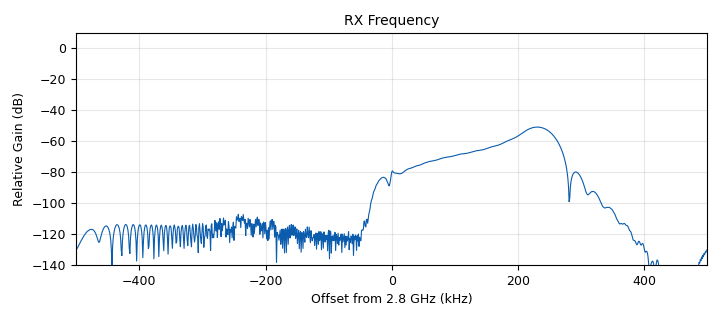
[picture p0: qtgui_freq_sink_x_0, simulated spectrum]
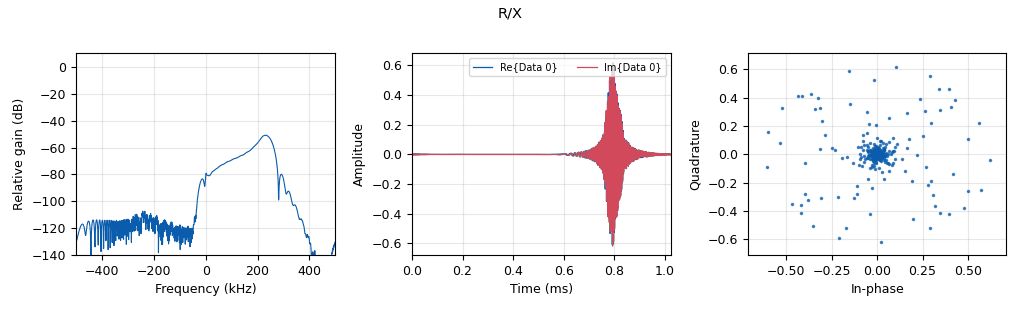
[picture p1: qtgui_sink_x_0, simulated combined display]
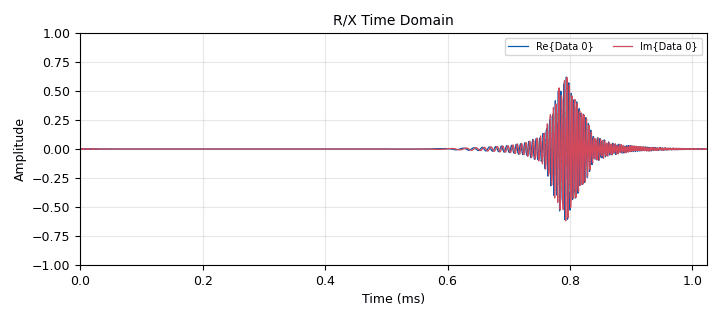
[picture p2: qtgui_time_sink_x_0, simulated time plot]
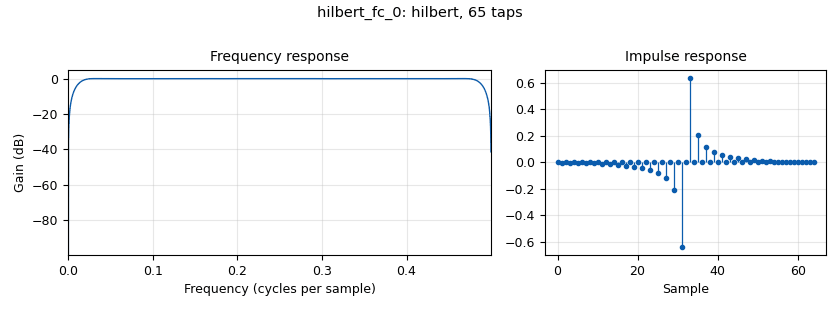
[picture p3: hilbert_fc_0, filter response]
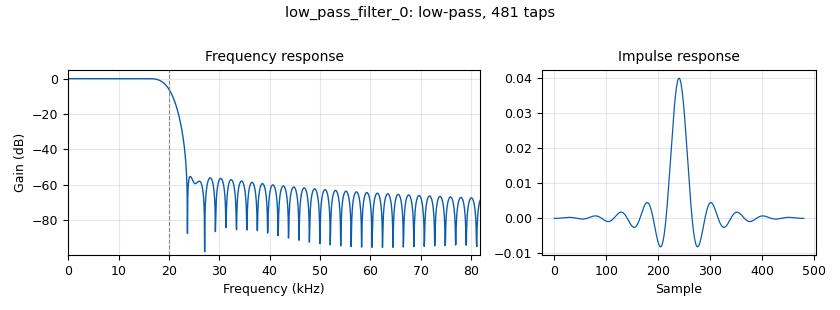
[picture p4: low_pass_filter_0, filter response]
options:
  parameters:
    generate_options: qt_gui
    id: FMCW
    output_language: python
    title: FMCW
  states: {}

blocks:
- name: pi
  id: variable
  parameters:
    value: '3.14159'
  states: {}
- name: samp_rate
  id: variable
  parameters:
    value: 1e6
  states: {}
- name: analog_sig_source_x_0
  id: analog_sig_source_x
  parameters:
    amp: '1'
    freq: '1000'
    offset: '0'
    phase: '0'
    samp_rate: samp_rate
    type: float
    waveform: analog.GR_SAW_WAVE
  states: {}
- name: blocks_file_sink_0
  id: blocks_file_sink
  parameters:
    file: beat_signal.bin
    type: complex
    unbuffered: 'True'
  states: {}
- name: blocks_multiply_conjugate_cc_0
  id: blocks_multiply_conjugate_cc
  parameters: {}
  states: {}
- name: blocks_skiphead_0
  id: blocks_skiphead
  parameters:
    num_items: '1000'
    type: complex
  states: {}
- name: blocks_vco_f_0
  id: blocks_vco_f
  parameters:
    amplitude: '1'
    samp_rate: samp_rate
    sensitivity: 2*pi*samp_rate
  states: {}
- name: hilbert_fc_0
  id: hilbert_fc
  parameters:
    num_taps: '64'
  states: {}
- name: low_pass_filter_0
  id: low_pass_filter
  parameters:
    cutoff_freq: '20000'
    decim: '1'
    gain: '1'
    samp_rate: samp_rate
    type: fir_filter_ccf
    width: '5000'
    win: window.WIN_HAMMING
  states: {}
- name: qtgui_freq_sink_x_0
  id: qtgui_freq_sink_x
  parameters:
    bw: samp_rate
    ctrlpanel: 'True'
    fc: 2.8e9
    fftsize: '1024'
    name: '"RX Frequency"'
    type: complex
  states: {}
- name: qtgui_sink_x_0
  id: qtgui_sink_x
  parameters:
    bw: samp_rate
    fc: '0'
    fftsize: '1024'
    name: '"R/X"'
    type: complex
  states: {}
- name: qtgui_time_sink_x_0
  id: qtgui_time_sink_x
  parameters:
    ctrlpanel: 'True'
    name: '"R/X Time Domain"'
    size: '1024'
    srate: samp_rate
    type: complex
  states: {}
- name: uhd_usrp_sink_0
  id: uhd_usrp_sink
  parameters:
    ant0: '"TX/RX"'
    bw0: 100e6
    center_freq0: 2.8e9
    gain0: '20'
    samp_rate: samp_rate
    sync: sync
    type: fc32
  states: {state: disabled}
- name: uhd_usrp_source_0
  id: uhd_usrp_source
  parameters:
    ant0: '"RX2"'
    bw0: 100e6
    center_freq0: 2.8e9
    gain0: '31.5'
    samp_rate: samp_rate
    sync: sync
    type: fc32
  states: {state: disabled}
- name: virtual_sink_0
  id: virtual_sink
  parameters:
    stream_id: USRP
  states: {}
- name: virtual_source_0
  id: virtual_source
  parameters:
    stream_id: USRP
  states: {}

connections:
- [analog_sig_source_x_0, '0', blocks_vco_f_0, '0']
- [blocks_multiply_conjugate_cc_0, '0', blocks_skiphead_0, '0']
- [blocks_skiphead_0, '0', blocks_file_sink_0, '0']
- [blocks_skiphead_0, '0', qtgui_freq_sink_x_0, '0']
- [blocks_skiphead_0, '0', qtgui_sink_x_0, '0']
- [blocks_skiphead_0, '0', qtgui_time_sink_x_0, '0']
- [blocks_vco_f_0, '0', hilbert_fc_0, '0']
- [hilbert_fc_0, '0', blocks_multiply_conjugate_cc_0, '0']
- [hilbert_fc_0, '0', uhd_usrp_sink_0, '0']
- [hilbert_fc_0, '0', virtual_sink_0, '0']
- [low_pass_filter_0, '0', blocks_multiply_conjugate_cc_0, '1']
- [uhd_usrp_source_0, '0', low_pass_filter_0, '0']
- [virtual_source_0, '0', low_pass_filter_0, '0']

metadata:
  file_format: 1
  grc_version: 3.10.9.2
